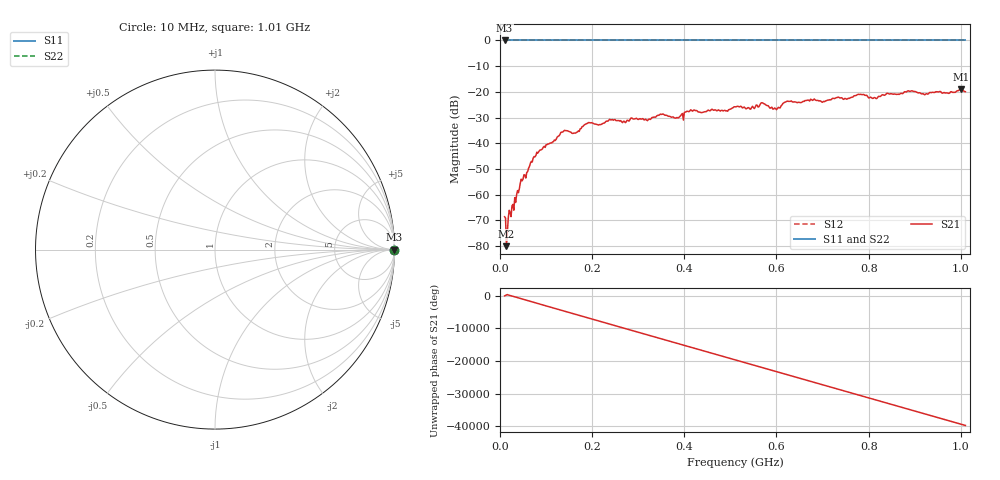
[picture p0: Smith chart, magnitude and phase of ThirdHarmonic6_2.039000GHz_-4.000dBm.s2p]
! 8/17/2025 12:27:14 AM
! C:\ANRITSUVNA\TEMP\TEMP.S2P
! CHANNEL.1
! TR.MEASUREMENT
! RAW.DATA
! RF.CORRECTION.OFF
! AVERAGING.OFF
! IF.BANDWIDTH: 5KHZ
! SWEEPTYPE:  FREQ.SWEEP(Linear)
! Reference Plane Port Info
! PORT:  PORT1  PORT2
! DISTANCE:  0  m  0  m
! TIME:  0  s  0  s
! PHASE.OFFSET:  0  deg.  0  deg.
! LOSS:  0  dB  0  dB
! REF.LOSS:  0  dB  0  dB
! REF.FREQ:  0  Hz  0  Hz
! Power Info
! POWER:  -20  dBm  -20  dBm
! EFF.POWER:  -20  dBm  -20  dBm
! SOURCE.ATTEN:  0  dB  0  dB
! TEST.ATTEN:  0  dB  0  dB
# GHZ S RI R 50.0
! FREQ.GHZ  S11RE  S11IM  S21RE  S21IM  S12RE  S12IM  S22RE  S22IM
!; PortSelection: Port_12
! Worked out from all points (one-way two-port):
!   501 points, 10 MHz to 1.01 GHz, reference 50 ohm
!   highest |S21| = -18.96 dB at 1 GHz (marker M1); lowest = -80.0 dB at 14 MHz (marker M2)
!   lowest |S11| = 0.0 dB at 10 MHz (marker M3)
!   |S11| at or under -10 dB: nowhere
!   |S22| runs from 0.0 to 0.0 dB; largest |S21 - S12| = 1.1
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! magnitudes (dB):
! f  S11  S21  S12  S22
! 10 MHz  0.0  -68.6  0.0  0.0
! 14 MHz  0.0  -80.0  0.0  0.0
! 48 MHz  0.0  -54.6  0.0  0.0
! 76 MHz  0.0  -45.3  0.0  0.0
! 136 MHz  0.0  -35.7  0.0  0.0
! 162 MHz  0.0  -36.0  0.0  0.0
! 178 MHz  0.0  -33.6  0.0  0.0
! 344 MHz  0.0  -29.1  0.0  0.0
! 384 MHz  0.0  -30.0  0.0  0.0
! 410 MHz  0.0  -27.7  0.0  0.0
! 510 MHz  0.0  -25.8  0.0  0.0
! 540 MHz  0.0  -26.2  0.0  0.0
! 570 MHz  0.0  -24.3  0.0  0.0
! 596 MHz  0.0  -26.3  0.0  0.0
! 622 MHz  0.0  -23.7  0.0  0.0
! 678 MHz  0.0  -23.3  0.0  0.0
! 702 MHz  0.0  -23.7  0.0  0.0
! 780 MHz  0.0  -21.0  0.0  0.0
! 814 MHz  0.0  -22.3  0.0  0.0
! 844 MHz  0.0  -20.8  0.0  0.0
! 1 GHz  0.0  -19.0  0.0  0.0
! 1.01 GHz  0.0  -19.9  0.0  0.0
